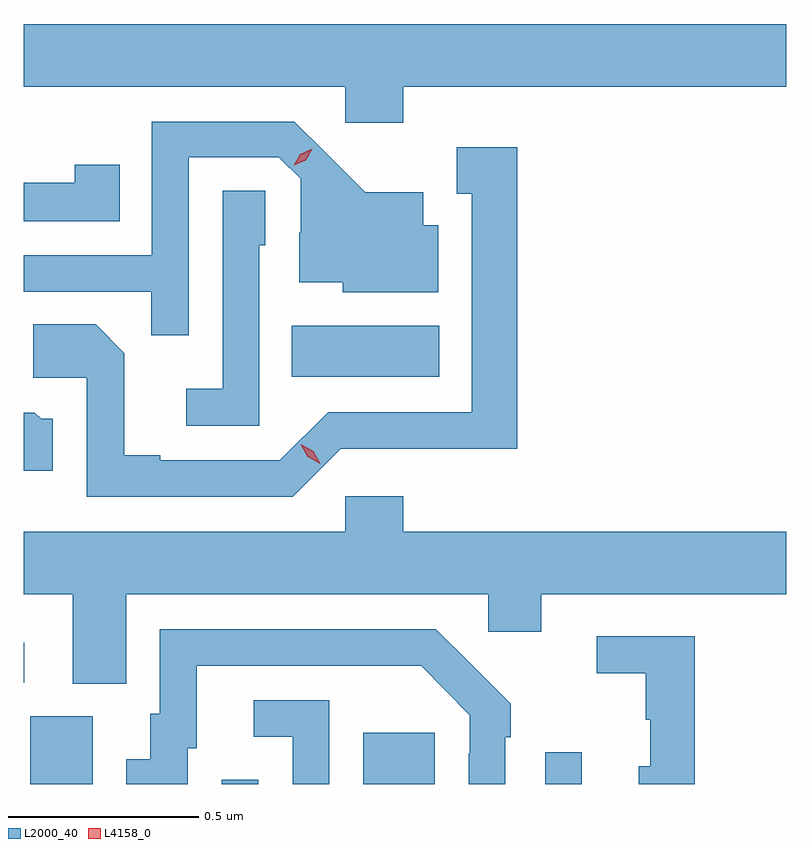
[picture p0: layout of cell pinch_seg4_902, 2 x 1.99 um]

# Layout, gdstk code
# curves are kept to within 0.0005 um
import gdstk
lib = gdstk.Library(unit=1e-6, precision=1e-09)
def R(c, l, rs):  # rectangles x0, y0, x1, y1
    for r in rs: c.add(gdstk.rectangle(r[:2], r[2:], *l))
def P(c, l, *ps):  # polygons
    for p in ps: c.add(gdstk.Polygon(p, *l))
L2000_40 = (2000, 40)
L4158_0 = (4158, 0)

pinch_seg4_902 = lib.new_cell('pinch_seg4_902')
R(pinch_seg4_902, L2000_40, [(719.21,821.63,719.374,821.808), (719.712,821.63,719.808,821.641), (720.083,821.63,720.271,821.764), (720.561,821.63,720.657,821.713), (719.193,821.895,719.194,822.001), (719.896,822.698,720.283,822.832)])
P(pinch_seg4_902, L2000_40, [(720.188,823.46),(721.193,823.46),(721.193,823.624),(719.193,823.624),(719.193,823.46),(720.036,823.46),(720.036,823.365),(720.188,823.365)],
  [(719.625,823.275),(719.862,823.275),(719.919,823.218),(719.919,823.076),(719.915,823.076),(719.915,822.947),(720.03,822.947),(720.03,822.92),(720.28,822.92),(720.28,823.096),(720.241,823.096),(720.241,823.183),(720.089,823.183),(719.902,823.368),(719.529,823.368),(719.529,823.017),(719.193,823.017),(719.193,822.921),(719.527,822.921),(719.527,822.808),(719.625,822.808)],
  [(720.024,822.51),(720.246,822.51),(720.246,822.509),(720.487,822.509),(720.487,823.3),(720.329,823.3),(720.329,823.179),(720.368,823.179),(720.368,822.606),(719.991,822.606),(719.865,822.48),(719.551,822.48),(719.551,822.493),(719.457,822.493),(719.457,822.76),(719.381,822.836),(719.217,822.836),(719.217,822.696),(719.358,822.696),(719.358,822.384),(719.898,822.384)],
  [(719.444,823.255),(719.326,823.255),(719.326,823.208),(719.193,823.208),(719.193,823.107),(719.444,823.107)],
  [(719.811,823.044),(719.826,823.044),(719.826,823.187),(719.715,823.187),(719.715,822.667),(719.619,822.667),(719.619,822.57),(719.811,822.57)],
  [(719.269,822.588),(719.238,822.588),(719.222,822.604),(719.193,822.604),(719.193,822.452),(719.269,822.452)],
  [(720.411,822.03),(720.55,822.03),(720.55,822.128),(721.193,822.128),(721.193,822.292),(720.188,822.292),(720.188,822.385),(720.036,822.385),(720.036,822.292),(719.193,822.292),(719.193,822.128),(719.321,822.128),(719.321,821.893),(719.461,821.893),(719.461,822.128),(720.411,822.128)],
  [(719.623,821.724),(719.647,821.724),(719.647,821.94),(720.235,821.94),(720.363,821.811),(720.363,821.711),(720.36,821.711),(720.36,821.63),(720.456,821.63),(720.456,821.753),(720.471,821.753),(720.471,821.841),(720.366,821.946),(720.365,821.945),(720.274,822.036),(719.55,822.036),(719.55,821.814),(719.525,821.814),(719.525,821.695),(719.462,821.695),(719.462,821.63),(719.623,821.63)],
  [(720.953,822.018),(720.696,822.018),(720.696,821.92),(720.825,821.92),(720.825,821.799),(720.836,821.799),(720.836,821.677),(720.806,821.677),(720.806,821.63),(720.953,821.63)],
  [(719.994,821.85),(719.796,821.85),(719.796,821.754),(719.898,821.754),(719.898,821.63),(719.994,821.63)])
P(pinch_seg4_902, L4158_0, [(719.97,822.47),(719.938,822.489),(719.92,822.522),(719.92,822.522),(719.92,822.522),(719.952,822.503),(719.97,822.47),(719.97,822.47)],
  [(719.901,823.253),(719.901,823.253),(719.918,823.282),(719.949,823.297),(719.95,823.297),(719.95,823.297),(719.932,823.267),(719.901,823.253)])

lib.write_gds('pinch_seg4_902.gds')
